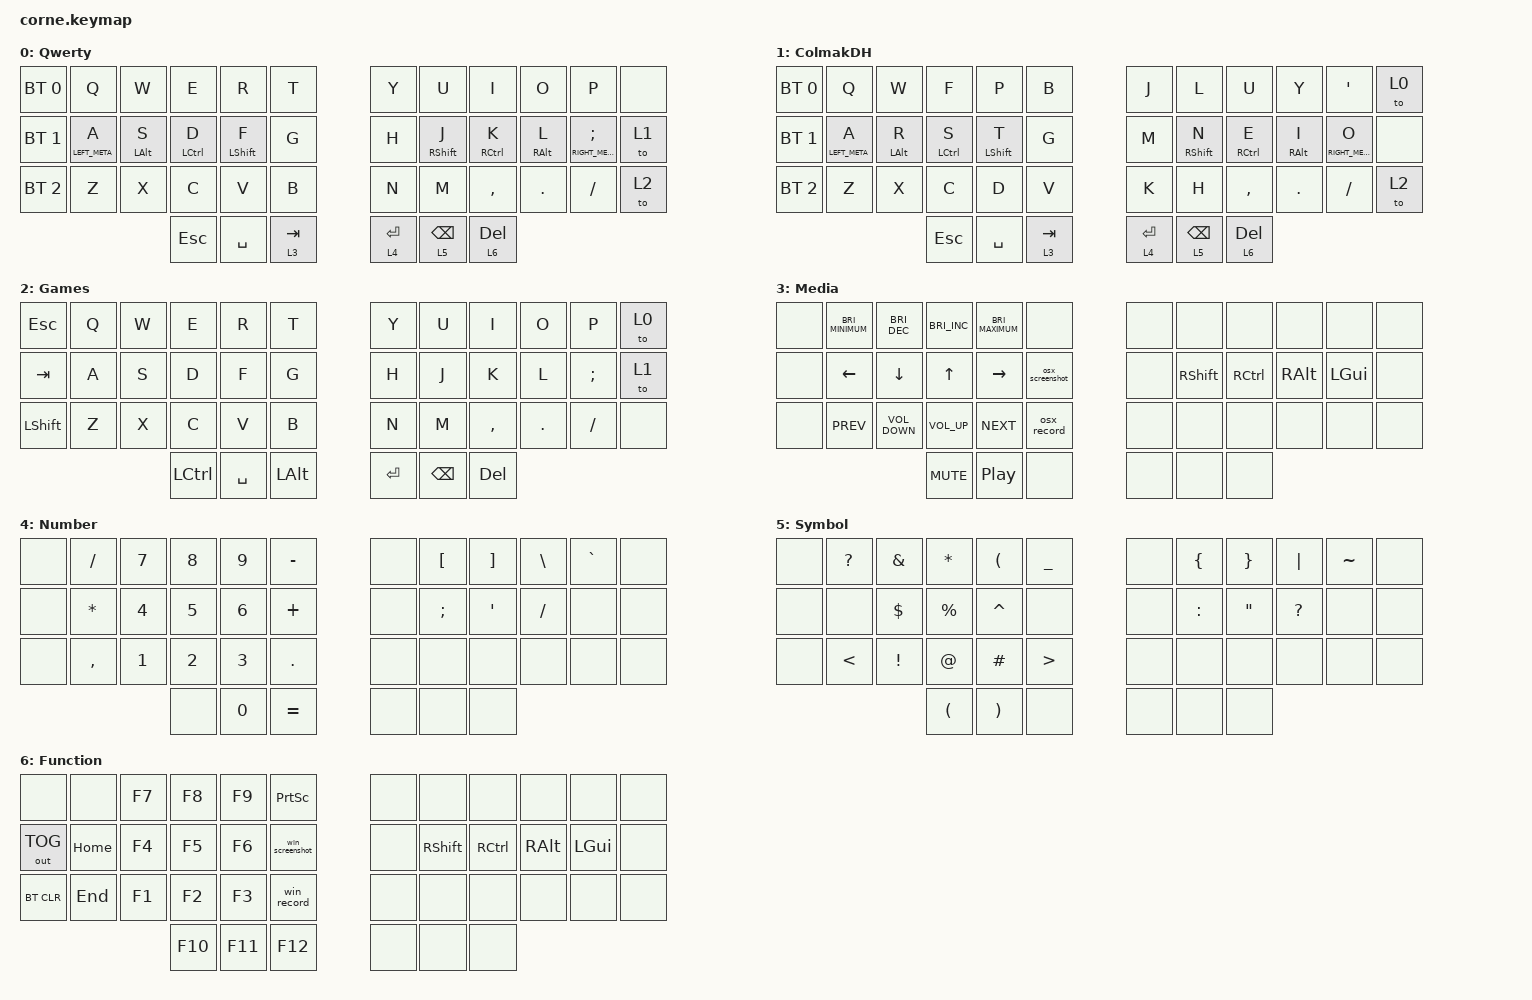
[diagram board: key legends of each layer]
/*
 * Copyright (c) 2020 The ZMK Contributors
 *
 * SPDX-License-Identifier: MIT
 */

#include <behaviors.dtsi>
#include <dt-bindings/zmk/bt.h>
#include <dt-bindings/zmk/keys.h>
#include <dt-bindings/zmk/outputs.h>

/ {
    behaviors {
        HMR: HMR {
            compatible = "zmk,behavior-hold-tap";
            label = "HMR";
            bindings = <&kp>, <&kp>;

            #binding-cells = <2>;
            tapping-term-ms = <200>;
            quick-tap-ms = <175>;
            flavor = "tap-preferred";
            hold-trigger-on-release;
            hold-trigger-key-positions = <0 1 2 3 4 5 17 16 15 14 13 12 24 25 26 27 28 29 36 37 38 39 40 41 0 1 2 3 4 5 12 13 14 15 16 17 24 25 26 27 28 29 36 37 38>;
        };

        HML: HML {
            compatible = "zmk,behavior-hold-tap";
            label = "HML";
            bindings = <&kp>, <&kp>;

            #binding-cells = <2>;
            tapping-term-ms = <200>;
            quick-tap-ms = <175>;
            flavor = "tap-preferred";
            hold-trigger-key-positions = <6 7 8 9 10 11 18 19 20 21 22 23 30 31 32 33 34 35 39 40 41 38 37 36>;
            hold-trigger-on-release;
        };

        kpmo: kpmo {
            compatible = "zmk,behavior-hold-tap";
            label = "KPMO";
            bindings = <&mo>, <&kp>;

            #binding-cells = <2>;
            tapping-term-ms = <200>;
            quick-tap-ms = <175>;
            flavor = "tap-preferred";
            hold-trigger-on-release;
            hold-trigger-key-positions = <0 1 2 3 4 5 6 7 8 9 10 11 12 13 14 15 16 17 18 19 20 21 22 23 24 25 26 27 28 29 30 31 32 33 34 35 36 37 38 39 40 41>;
        };
    };

    macros {
        web_back: mcr_back {
            compatible = "zmk,behavior-macro";
            #binding-cells = <0>;
            bindings =
                <&macro_press>,
                <&kp LEFT_ALT>,
                <&macro_tap>,
                <&kp LEFT>,
                <&macro_release>,
                <&kp LEFT_ALT>;

            label = "MCR_BACK";
        };

        web_forward: mcr_forward {
            compatible = "zmk,behavior-macro";
            #binding-cells = <0>;
            bindings =
                <&macro_press>,
                <&kp LEFT_ALT>,
                <&macro_tap>,
                <&kp RIGHT_ARROW>,
                <&macro_release>,
                <&kp LEFT_ALT>;

            label = "MCR_FORWARD";
        };

        web_tab_left: mcr_tab_left {
            compatible = "zmk,behavior-macro";
            #binding-cells = <0>;
            bindings =
                <&macro_press>,
                <&kp LEFT_CONTROL &kp LEFT_SHIFT>,
                <&macro_tap>,
                <&kp TAB>,
                <&macro_release>,
                <&kp LEFT_CONTROL &kp LEFT_SHIFT>;

            label = "MCR_TAB_LEFT";
        };

        web_tab_right: mcr_tab_right {
            compatible = "zmk,behavior-macro";
            #binding-cells = <0>;
            bindings =
                <&macro_press>,
                <&kp LEFT_CONTROL>,
                <&macro_tap>,
                <&kp TAB>,
                <&macro_release>,
                <&kp LEFT_CONTROL>;

            label = "MCR_TAB_RIGHT";
        };

        osx_screenshot: osx_screenshot_portion {
            compatible = "zmk,behavior-macro";
            #binding-cells = <0>;
            bindings =
                <&macro_press>,
                <&kp LEFT_SHIFT &kp LEFT_GUI &kp NUMBER_4>,
                <&macro_release>;

            label = "OSX_SCREENSHOT_PORTION";
        };

        osx_record: osx_record_portion {
            compatible = "zmk,behavior-macro";
            #binding-cells = <0>;
            bindings =
                <&macro_press>,
                <&kp LEFT_SHIFT &kp LEFT_GUI &kp NUMBER_5>,
                <&macro_release>;

            label = "OSX_RECORD_PORTION";
        };

        win_screenshot: win_screenshot_portion {
            compatible = "zmk,behavior-macro";
            #binding-cells = <0>;
            bindings =
                <&macro_press>,
                <&kp LEFT_SHIFT &kp LEFT_GUI &kp S>,
                <&macro_release>;

            label = "WIN_SCREENSHOT_PORTION";
        };

        win_record: win_record {
            compatible = "zmk,behavior-macro";
            #binding-cells = <0>;
            bindings =
                <&macro_press>,
                <&kp LEFT_SHIFT &kp LEFT_GUI &kp R>,
                <&macro_release>;

            label = "WIN_RECORD";
        };
    };

    keymap {
        compatible = "zmk,keymap";

        Qwerty {
            // -----------------------------------------------------------------------------------------
            // |  TAB |  Q  |  W  |  E  |  R  |  T  |   |  Y  |  U   |  I  |  O  |  P  | BSPC |
            // | CTRL |  A  |  S  |  D  |  F  |  G  |   |  H  |  J   |  K  |  L  |  ;  |  '   |
            // | SHFT |  Z  |  X  |  C  |  V  |  B  |   |  N  |  M   |  ,  |  .  |  /  | ESC  |
            //                    | GUI | LWR | SPC |   | ENT | RSE  | ALT |

            bindings = <
&bt BT_SEL 0  &kp Q             &kp W            &kp E         &kp R              &kp T          &kp Y           &kp U               &kp I           &kp O             &kp P                 &none
&bt BT_SEL 1  &HML LEFT_META A  &HML LEFT_ALT S  &HML LCTRL D  &HML LEFT_SHIFT F  &kp G          &kp H           &HMR RIGHT_SHIFT J  &HMR RCTRL K    &HMR RIGHT_ALT L  &HMR RIGHT_META SEMI  &to 1
&bt BT_SEL 2  &kp Z             &kp X            &kp C         &kp V              &kp B          &kp N           &kp M               &kp COMMA       &kp DOT           &kp FSLH              &to 2
                                                 &kp ESCAPE    &kp SPACE          &kpmo 3 TAB    &kpmo 4 RETURN  &kpmo 5 BACKSPACE   &kpmo 6 DELETE
            >;
        };

        ColmakDH {
            bindings = <
&bt BT_SEL 0  &kp Q             &kp W            &kp F         &kp P              &kp B          &kp J           &kp L               &kp U           &kp Y             &kp APOSTROPHE     &to 0
&bt BT_SEL 1  &HML LEFT_META A  &HML LEFT_ALT R  &HML LCTRL S  &HML LEFT_SHIFT T  &kp G          &kp M           &HMR RIGHT_SHIFT N  &HMR RCTRL E    &HMR RIGHT_ALT I  &HMR RIGHT_META O  &none
&bt BT_SEL 2  &kp Z             &kp X            &kp C         &kp D              &kp V          &kp K           &kp H               &kp COMMA       &kp DOT           &kp FSLH           &to 2
                                                 &kp ESCAPE    &kp SPACE          &kpmo 3 TAB    &kpmo 4 RETURN  &kpmo 5 BACKSPACE   &kpmo 6 DELETE
            >;
        };

        Games {
            bindings = <
&kp ESC         &kp Q  &kp W  &kp E      &kp R      &kp T       &kp Y    &kp U     &kp I      &kp O    &kp P     &to 0
&kp TAB         &kp A  &kp S  &kp D      &kp F      &kp G       &kp H    &kp J     &kp K      &kp L    &kp SEMI  &to 1
&kp LEFT_SHIFT  &kp Z  &kp X  &kp C      &kp V      &kp B       &kp N    &kp M     &kp COMMA  &kp DOT  &kp FSLH  &none
                              &kp LCTRL  &kp SPACE  &kp LALT    &kp RET  &kp BSPC  &kp DEL
            >;
        };

        Media {
            bindings = <
&none  &kp C_BRIGHTNESS_MINIMUM  &kp C_BRIGHTNESS_DEC  &kp C_BRIGHTNESS_INC  &kp C_BRIGHTNESS_MAXIMUM  &none              &none  &none            &none      &none          &none         &none
&none  &kp LEFT                  &kp DOWN              &kp UP                &kp RIGHT                 &osx_screenshot    &none  &kp RIGHT_SHIFT  &kp RCTRL  &kp RIGHT_ALT  &kp LEFT_GUI  &none
&none  &kp C_PREV                &kp C_VOLUME_DOWN     &kp C_VOLUME_UP       &kp C_NEXT                &osx_record        &none  &none            &none      &none          &none         &none
                                                       &kp K_MUTE            &kp C_PLAY_PAUSE          &none              &none  &none            &none
            >;
        };

        Number {
            // -----------------------------------------------------------------------------------------
            // |  TAB |  1  |  2  |  3  |  4  |  5  |   |  6  |  7  |  8  |  9  |  0  | BSPC |
            // | BTCLR| BT1 | BT2 | BT3 | BT4 | BT5 |   | LFT | DWN |  UP | RGT |     |      |
            // | SHFT |     |     |     |     |     |   |     |     |     |     |     |      |
            //                    | GUI |     | SPC |   | ENT |     | ALT |

            bindings = <
&none  &kp FSLH      &kp N7  &kp N8  &kp N9  &kp MINUS     &none  &kp LEFT_BRACKET  &kp RIGHT_BRACKET  &kp BACKSLASH  &kp GRAVE  &none
&none  &kp ASTERISK  &kp N4  &kp N5  &kp N6  &kp PLUS      &none  &kp SEMICOLON     &kp APOSTROPHE     &kp SLASH      &none      &none
&none  &kp COMMA     &kp N1  &kp N2  &kp N3  &kp PERIOD    &none  &none             &none              &none          &none      &none
                             &none   &kp N0  &kp EQUAL     &none  &none             &none
            >;
        };

        Symbol {
            bindings = <
&none  &kp QUESTION   &kp AMPERSAND    &kp ASTERISK          &kp LEFT_PARENTHESIS   &kp UNDERSCORE      &none  &kp LEFT_BRACE  &kp RIGHT_BRACE    &kp PIPE      &kp TILDE  &none
&none  &none          &kp DOLLAR       &kp PERCENT           &kp CARET              &none               &none  &kp COLON       &kp DOUBLE_QUOTES  &kp QUESTION  &none      &none
&none  &kp LESS_THAN  &kp EXCLAMATION  &kp AT                &kp HASH               &kp GREATER_THAN    &none  &none           &none              &none         &none      &none
                                       &kp LEFT_PARENTHESIS  &kp RIGHT_PARENTHESIS  &none               &none  &none           &none
            >;
        };

        Function {
            bindings = <
&none         &none     &kp F7  &kp F8   &kp F9   &kp PRINTSCREEN    &none  &none       &none      &none          &none         &none
&out OUT_TOG  &kp HOME  &kp F4  &kp F5   &kp F6   &win_screenshot    &none  &kp RSHIFT  &kp RCTRL  &kp RIGHT_ALT  &kp LEFT_GUI  &none
&bt BT_CLR    &kp END   &kp F1  &kp F2   &kp F3   &win_record        &none  &none       &none      &none          &none         &none
                                &kp F10  &kp F11  &kp F12            &none  &none       &none
            >;
        };
    };
};
